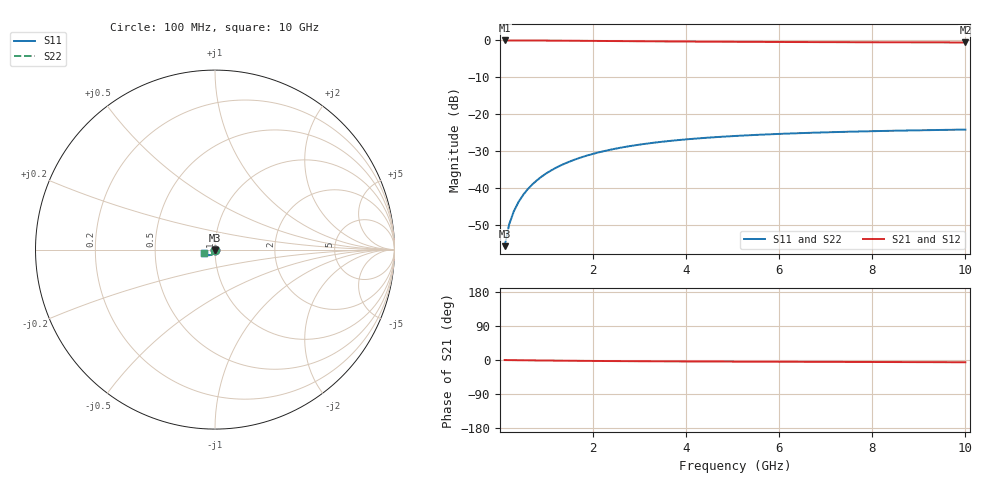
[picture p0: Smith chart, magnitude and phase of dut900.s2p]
! Touchstone file exported from HFSS 2024.1.0
!  File:  C:/UserFiles/LocalFiles/RDL_TSV_Batchsim/temp_TSV1_900_1779944290.aedt
!  Generated:  01:04:34 PM May 28, 2026
!  Design:  TSV1
!  Project:  temp_TSV1_900_1779944290
!  Setup:  Setup1
!  Solution:  Sweep
! Variables:
!  dtsv = 10.94um
!  hbump = 3um
!  htsv = 94.52um
!  lrdl = 252.1521522um
!  p = 40
!  p1 = 43.31um
!  t = 500um
!  trdl = 3um
!  wrdl = 24.89489489um
# GHz S MA R 50.000000
! Terminal data exported
! Port[1] = TSV22_T1
! Port[2] = TSV22_T2
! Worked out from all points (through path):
!   100 points, 100 MHz to 10 GHz, reference 50 ohm
!   highest |S21| = 0.00 dB at 100 MHz (marker M1); lowest = -0.5 dB at 10 GHz (marker M2)
!   lowest |S11| = -55.8 dB at 100 MHz (marker M3), VSWR 1.00, Z = 50 - j0.163 ohm
!   |S11| at or under -10 dB: start of sweep to end of sweep
!   |S22| runs from -55.8 to -24.2 dB; largest |S21 - S12| = 5.2e-15
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0.1  0.001629 -86.7  0.9998 -0.1  0.9998 -0.1  0.001629 -86.7
! Gamma 0 0 0 0
! Port Impedance 50 0 50 0
0.2  0.00325 -90.5  0.9997 -0.3  0.9997 -0.3  0.00325 -90.5
0.3  0.004872 -92.7  0.9994 -0.4  0.9994 -0.4  0.004872 -92.7
0.4  0.006489 -94.7  0.9991 -0.6  0.9991 -0.6  0.006489 -94.7
0.5  0.008097 -96.4  0.9987 -0.7  0.9987 -0.7  0.008097 -96.4
0.6  0.009691 -98.1  0.9982 -0.9  0.9982 -0.9  0.009691 -98.1
0.7  0.01127 -99.8  0.9977 -1.0  0.9977 -1.0  0.01127 -99.8
0.8  0.01282 -101.4  0.9971 -1.1  0.9971 -1.1  0.01282 -101.4
0.9  0.01435 -102.9  0.9964 -1.2  0.9964 -1.2  0.01435 -102.9
1.1  0.01732 -106.0  0.9948 -1.5  0.9948 -1.5  0.01732 -106.0
1.4  0.02154 -110.3  0.9922 -1.9  0.9922 -1.9  0.02154 -110.3
1.6  0.02419 -113.0  0.9903 -2.1  0.9903 -2.1  0.02419 -113.0
1.8  0.02669 -115.7  0.9882 -2.3  0.9882 -2.3  0.02669 -115.7
2.1  0.03016 -119.4  0.9851 -2.6  0.9851 -2.6  0.03016 -119.4
2.5  0.03431 -124.0  0.9808 -2.9  0.9808 -2.9  0.03431 -124.0
2.9  0.03792 -128.1  0.9767 -3.2  0.9767 -3.2  0.03792 -128.1
3.4  0.04179 -132.8  0.9718 -3.5  0.9718 -3.5  0.04179 -132.8
4.2  0.04673 -139.1  0.9649 -3.9  0.9649 -3.9  0.04673 -139.1
5.1  0.05093 -145.0  0.9585 -4.3  0.9585 -4.3  0.05093 -145.0
6.7  0.05609 -153.2  0.9501 -4.8  0.9501 -4.8  0.05609 -153.2
8.4  0.05963 -159.8  0.9439 -5.4  0.9439 -5.4  0.05963 -159.8
10  0.06191 -164.8  0.9398 -5.9  0.9398 -5.9  0.06191 -164.8
